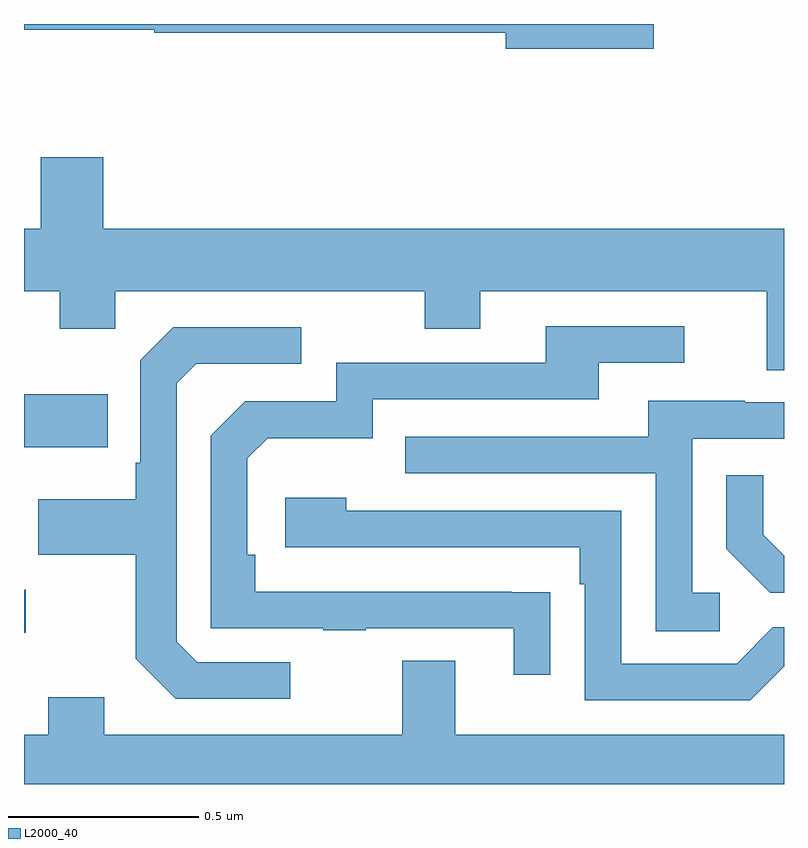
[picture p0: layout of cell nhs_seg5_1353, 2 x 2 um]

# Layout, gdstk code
import gdstk
lib = gdstk.Library(unit=1e-6, precision=1e-09)
def R(c, l, rs):  # rectangles x0, y0, x1, y1
    for r in rs: c.add(gdstk.rectangle(r[:2], r[2:], *l))
def P(c, l, *ps):  # polygons
    for p in ps: c.add(gdstk.Polygon(p, *l))
L2000_40 = (2000, 40)

nhs_seg5_1353 = lib.new_cell('nhs_seg5_1353')
R(nhs_seg5_1353, L2000_40, [(129,853.197,129.004,853.31), (129,853.685,129.221,853.825)])
P(nhs_seg5_1353, L2000_40, [(130.657,854.799),(129,854.799),(129,854.784),(129.343,854.784),(129.343,854.776),(130.268,854.776),(130.268,854.734),(130.657,854.734)],
  [(131,854.26),(129.208,854.26),(129.208,854.449),(129.044,854.449),(129.044,854.26),(129,854.26),(129,854.096),(129.094,854.096),(129.094,853.997),(129.24,853.997),(129.24,854.096),(130.054,854.096),(130.054,853.997),(130.201,853.997),(130.201,854.096),(130.955,854.096),(130.955,853.888),(131,853.888)],
  [(130.385,853.304),(130.283,853.304),(130.283,853.305),(129.608,853.305),(129.608,853.402),(129.588,853.402),(129.588,853.656),(129.641,853.709),(129.918,853.709),(129.918,853.812),(130.513,853.812),(130.513,853.908),(130.738,853.908),(130.738,854.004),(130.373,854.004),(130.373,853.908),(129.822,853.908),(129.822,853.806),(129.582,853.806),(129.492,853.716),(129.492,853.209),(129.787,853.209),(129.787,853.204),(129.899,853.204),(129.899,853.209),(130.289,853.209),(130.289,853.086),(130.385,853.086)],
  [(129.7,853.119),(129.456,853.119),(129.402,853.173),(129.402,853.854),(129.453,853.905),(129.73,853.905),(129.73,854.001),(129.393,854.001),(129.306,853.914),(129.306,853.645),(129.294,853.645),(129.294,853.549),(129.037,853.549),(129.037,853.402),(129.294,853.402),(129.294,853.129),(129.399,853.023),(129.7,853.023)],
  [(130.831,853.302),(130.758,853.302),(130.758,853.707),(131,853.707),(131,853.803),(130.897,853.803),(130.897,853.807),(130.643,853.807),(130.643,853.713),(130.003,853.713),(130.003,853.617),(130.662,853.617),(130.662,853.201),(130.831,853.201)],
  [(131,853.4),(130.945,853.455),(130.945,853.612),(130.848,853.612),(130.848,853.418),(130.964,853.302),(131,853.302)],
  [(131,853.109),(131,853.212),(130.971,853.212),(130.875,853.116),(130.572,853.116),(130.572,853.518),(129.848,853.518),(129.848,853.552),(129.687,853.552),(129.687,853.422),(130.463,853.422),(130.463,853.325),(130.476,853.325),(130.476,853.02),(130.911,853.02)],
  [(129.064,852.928),(129,852.928),(129,852.799),(131,852.799),(131,852.928),(130.135,852.928),(130.135,853.123),(129.995,853.123),(129.995,852.928),(129.211,852.928),(129.211,853.027),(129.064,853.027)])

lib.write_gds('nhs_seg5_1353.gds')
